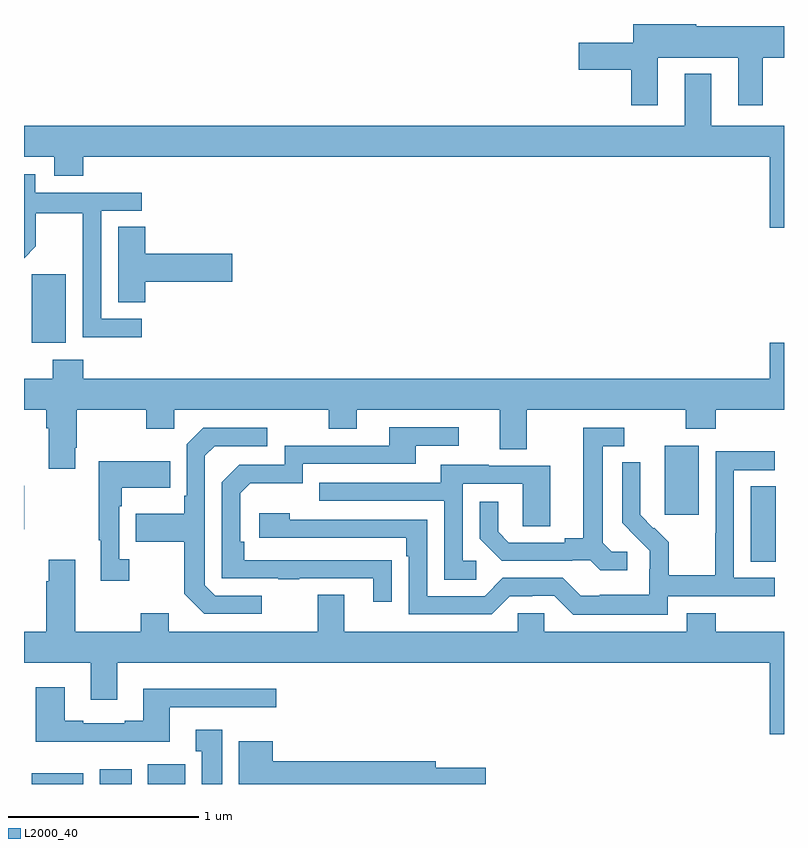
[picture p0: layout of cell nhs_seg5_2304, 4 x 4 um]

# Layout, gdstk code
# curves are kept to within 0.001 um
import gdstk
lib = gdstk.Library(unit=1e-6, precision=1e-09)
def R(c, l, rs):  # rectangles x0, y0, x1, y1
    for r in rs: c.add(gdstk.rectangle(r[:2], r[2:], *l))
def P(c, l, *ps):  # polygons
    for p in ps: c.add(gdstk.Polygon(p, *l))
L2000_40 = (2000, 40)

nhs_seg5_2304 = lib.new_cell('nhs_seg5_2304')
R(nhs_seg5_2304, L2000_40, [(245.042,846.799,245.311,846.856), (245.399,846.799,245.566,846.877), (245.651,846.799,245.848,846.904), (248.825,847.969,248.956,848.366), (245,848.141,245.001,848.369), (248.372,848.217,248.551,848.578), (245.042,849.122,245.221,849.483)])
P(nhs_seg5_2304, L2000_40, [(248.335,850.622),(248.759,850.622),(248.759,850.371),(248.887,850.371),(248.887,850.622),(249,850.622),(249,850.786),(248.539,850.786),(248.539,850.799),(248.207,850.799),(248.207,850.7),(247.92,850.7),(247.92,850.558),(248.195,850.558),(248.195,850.371),(248.335,850.371)],
  [(249,850.264),(248.617,850.264),(248.617,850.537),(248.477,850.537),(248.477,850.264),(245,850.264),(245,850.1),(245.159,850.1),(245.159,850.001),(245.312,850.001),(245.312,850.1),(248.924,850.1),(248.924,849.726),(249,849.726)],
  [(245.62,849.249),(245.406,849.249),(245.406,849.816),(245.62,849.816),(245.62,849.912),(245.058,849.912),(245.058,850.009),(245,850.009),(245,849.566),(245.063,849.629),(245.063,849.804),(245.308,849.804),(245.308,849.58),(245.31,849.58),(245.31,849.151),(245.62,849.151)],
  [(245.639,849.443),(246.097,849.443),(246.097,849.59),(245.639,849.59),(245.639,849.731),(245.495,849.731),(245.495,849.334),(245.639,849.334)],
  [(245,848.768),(245.117,848.768),(245.117,848.672),(245.129,848.672),(245.129,848.457),(245.269,848.457),(245.269,848.569),(245.277,848.569),(245.277,848.768),(245.644,848.768),(245.644,848.669),(245.79,848.669),(245.79,848.768),(246.604,848.768),(246.604,848.669),(246.751,848.669),(246.751,848.768),(247.505,848.768),(247.505,848.56),(247.645,848.56),(247.645,848.768),(248.482,848.768),(248.482,848.669),(248.642,848.669),(248.642,848.768),(249,848.768),(249,849.121),(248.924,849.121),(248.924,848.932),(245.312,848.932),(245.312,849.031),(245.152,849.031),(245.152,848.932),(245,848.932)],
  [(246.935,847.976),(246.158,847.977),(246.158,848.074),(246.138,848.074),(246.138,848.328),(246.191,848.381),(246.468,848.381),(246.468,848.484),(247.063,848.484),(247.063,848.58),(247.288,848.58),(247.288,848.676),(246.923,848.676),(246.923,848.58),(246.372,848.58),(246.372,848.478),(246.132,848.478),(246.042,848.388),(246.042,847.881),(246.337,847.881),(246.337,847.876),(246.449,847.876),(246.449,847.881),(246.839,847.881),(246.839,847.758),(246.935,847.758)],
  [(246.25,847.791),(246.006,847.791),(245.952,847.845),(245.952,848.526),(246.003,848.577),(246.28,848.577),(246.28,848.673),(245.943,848.673),(245.856,848.586),(245.856,848.317),(245.844,848.317),(245.844,848.221),(245.587,848.221),(245.587,848.074),(245.844,848.074),(245.844,847.801),(245.949,847.695),(246.25,847.695)],
  [(248.176,848.022),(248.094,848.022),(248.047,848.069),(248.047,848.577),(248.158,848.577),(248.158,848.673),(247.943,848.673),(247.943,848.093),(247.847,848.093),(247.847,848.07),(247.552,848.07),(247.495,848.127),(247.495,848.284),(247.398,848.284),(247.398,848.09),(247.514,847.974),(247.886,847.974),(247.886,847.977),(247.98,847.977),(248.032,847.925),(248.176,847.925)],
  [(248.388,847.788),(248.95,847.788),(248.95,847.884),(248.736,847.884),(248.736,848.451),(248.95,848.451),(248.95,848.55),(248.64,848.55),(248.64,848.12),(248.638,848.12),(248.638,847.897),(248.393,847.897),(248.393,848.071),(248.316,848.148),(248.313,848.145),(248.243,848.216),(248.244,848.492),(248.148,848.492),(248.148,848.174),(248.294,848.026),(248.294,847.929),(248.292,847.929),(248.292,847.795),(248.029,847.795),(248.029,847.791),(247.929,847.791),(247.836,847.884),(247.521,847.884),(247.425,847.788),(247.122,847.788),(247.122,848.19),(246.398,848.19),(246.398,848.224),(246.237,848.224),(246.237,848.094),(247.013,848.094),(247.013,847.997),(247.026,847.997),(247.026,847.692),(247.461,847.692),(247.557,847.788),(247.676,847.788),(247.676,847.791),(247.791,847.791),(247.891,847.691),(248.388,847.691)],
  [(245.554,847.982),(245.502,847.982),(245.502,848.261),(245.515,848.261),(245.515,848.357),(245.771,848.357),(245.771,848.497),(245.394,848.497),(245.394,848.081),(245.405,848.081),(245.405,847.869),(245.554,847.869)],
  [(247.381,847.974),(247.308,847.974),(247.308,848.379),(247.626,848.379),(247.626,848.155),(247.771,848.155),(247.771,848.475),(247.447,848.475),(247.447,848.479),(247.193,848.479),(247.193,848.385),(246.553,848.385),(246.553,848.289),(247.212,848.289),(247.212,847.873),(247.381,847.873)],
  [(249,847.6),(248.642,847.6),(248.642,847.699),(248.489,847.699),(248.489,847.6),(247.737,847.6),(247.737,847.698),(247.599,847.698),(247.599,847.6),(246.685,847.6),(246.685,847.795),(246.545,847.795),(246.545,847.6),(245.761,847.6),(245.761,847.699),(245.614,847.699),(245.614,847.6),(245.269,847.6),(245.269,847.978),(245.129,847.978),(245.129,847.865),(245.117,847.865),(245.117,847.6),(245,847.6),(245,847.436),(245.351,847.436),(245.351,847.242),(245.491,847.242),(245.491,847.436),(248.924,847.436),(248.924,847.062),(249,847.062)],
  [(245.767,847.203),(246.328,847.203),(246.328,847.3),(245.627,847.3),(245.627,847.132),(245.531,847.132),(245.531,847.119),(245.311,847.119),(245.311,847.132),(245.215,847.132),(245.215,847.309),(245.063,847.309),(245.063,847.022),(245.767,847.022)],
  [(246.043,847.084),(245.903,847.084),(245.903,846.971),(245.936,846.971),(245.936,846.799),(246.043,846.799)],
  [(247.429,846.884),(247.168,846.884),(247.168,846.92),(246.31,846.92),(246.31,847.024),(246.131,847.024),(246.131,846.799),(247.429,846.799)])

lib.write_gds('nhs_seg5_2304.gds')
